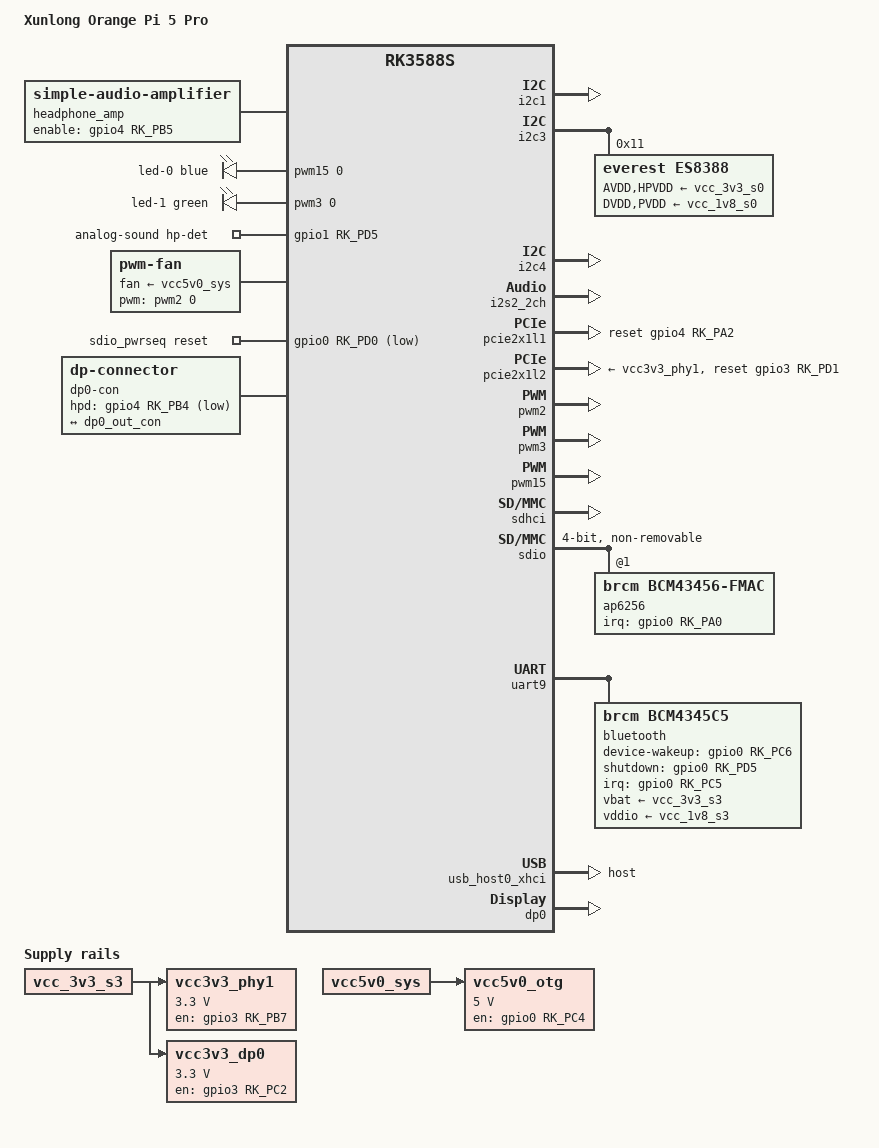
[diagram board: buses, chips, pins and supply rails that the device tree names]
// SPDX-License-Identifier: (GPL-2.0+ OR MIT)

/dts-v1/;

#include "rk3588s-orangepi-5.dtsi"

/ {
	model = "Xunlong Orange Pi 5 Pro";
	compatible = "xunlong,orangepi-5-pro", "rockchip,rk3588s";

	aliases {
		/delete-property/ ethernet0;
		mmc0 = &sdhci;
		mmc1 = &sdmmc;
		mmc2 = &sdio;
	};

	/*
	 * Pro uses GPIO4_PB5 for headphone mute, but the base OPi5 DTSI
	 * uses it for vcc_3v3_sd_s0. Delete the base regulator to avoid -EBUSY.
	 */
	/delete-node/ regulator-vcc-3v3-sd-s0;

	/*
	 * Headphone amplifier (not really an amplifier)
	 * It uses MOSFETs to switch the audio signal
	 * for Power Saving.
	 */
	headphone_amp: headphone-amp {
		compatible = "simple-audio-amplifier";
		enable-gpios = <&gpio4 RK_PB5 GPIO_ACTIVE_HIGH>;
		pinctrl-names = "default";
		pinctrl-0 = <&headphone_amp_en>;
		sound-name-prefix = "Headphones Amp";
	};

	/* Pro uses PWM for LEDs instead of GPIO */
	/delete-node/ pwm-leds;

	pwm-leds {
		compatible = "pwm-leds";

		led-0 {
			color = <LED_COLOR_ID_BLUE>;
			function = LED_FUNCTION_STATUS;
			linux,default-trigger = "heartbeat";
			max-brightness = <255>;
			pwms = <&pwm15 0 1000000 0>;
		};

		led-1 {
			color = <LED_COLOR_ID_GREEN>;
			function = LED_FUNCTION_ACTIVITY;
			linux,default-trigger = "heartbeat";
			max-brightness = <255>;
			pwms = <&pwm3 0 1000000 0>;
		};
	};

	/*
	 * Pro uses i2s2 (i2s2m1 mux) for audio, not i2s1. Recreate the sound
	 * card node pointing at i2s2_2ch instead.
	 */
	/delete-node/ analog-sound;

	/*
	 * Pro version works when CPU gives the MCLK to the codec
	 * instead of the codec generating it itself.
	 * SDO uses MOSFETs to switch the audio signal for power saving.
	 * SDI needs Mic BIAS enabled to work.
	 */
	analog-sound {
		compatible = "simple-audio-card";
		pinctrl-names = "default";
		pinctrl-0 = <&hp_detect>;
		simple-audio-card,name = "rockchip,es8388";
		simple-audio-card,bitclock-master = <&masterdai>;
		simple-audio-card,format = "i2s";
		simple-audio-card,frame-master = <&masterdai>;
		simple-audio-card,hp-det-gpios = <&gpio1 RK_PD5 GPIO_ACTIVE_HIGH>;
		simple-audio-card,mclk-fs = <256>;
		simple-audio-card,aux-devs = <&headphone_amp>;
		simple-audio-card,routing =
			"Headphones", "Headphones Amp OUTL",
			"Headphones", "Headphones Amp OUTR",
			"Headphones Amp INL", "LOUT1",
			"Headphones Amp INR", "ROUT1",
			"LINPUT1", "Microphone Jack",
			"RINPUT1", "Microphone Jack",
			"Microphone Jack", "Mic Bias",
			"LINPUT2", "Onboard Microphone",
			"RINPUT2", "Onboard Microphone",
			"Onboard Microphone", "Mic Bias";
		simple-audio-card,widgets =
			"Microphone", "Microphone Jack",
			"Microphone", "Onboard Microphone",
			"Headphone", "Headphones";

		/* CPU is the master */
		masterdai: simple-audio-card,cpu {
			sound-dai = <&i2s2_2ch>;
		};

		simple-audio-card,codec {
			sound-dai = <&es8388>;
		};
	};

	/*
	 * Fan is controlled by PWM and turns on a MOSFET (Q2) to power the fan.
	 * Recommended using a very low PWM frequency (50 Hz / 20,000,000 ns period).
	 * EXPLANATION: The hardware has an aggressive RC low-pass filter (10K / 100nF)
	 * at the MOSFET gate with a time constant of 1ms. If standard high-frequency PWM
	 * (25kHz) is used, the gate capacitor will integrate the signal as a DC Voltage,
	 * forcing the SOT-23 MOSFET into its linear (ohmic) region, causing
	 * massive thermal dissipation and eventually burning out the component.
	 * A 20ms period allows enough time for the gate to fully charge and discharge.
	 */
	fan: pwm-fan {
		compatible = "pwm-fan";
		#cooling-cells = <2>;
		/* Extend SBC capacitors and CPU lifetime */
		cooling-levels = <160 190 215 235 255>;
		fan-supply = <&vcc5v0_sys>;
		pwms = <&pwm2 0 20000000 0>;
	};

	/* PCIe 2.0 Regulator for MT YT6801 (PCIE-to-Ethernet) */
	vcc3v3_phy1: regulator-vcc3v3-phy1 {
		compatible = "regulator-fixed";
		enable-active-high;
		/* Prevent PCIe PHY getting STUCK */
		startup-delay-us = <50000>;
		regulator-always-on;
		regulator-boot-on;
		gpios = <&gpio3 RK_PB7 GPIO_ACTIVE_HIGH>;
		pinctrl-names = "default";
		pinctrl-0 = <&vcc3v3_phy1_en>;
		regulator-max-microvolt = <3300000>;
		regulator-min-microvolt = <3300000>;
		regulator-name = "vcc3v3_phy1";
		vin-supply = <&vcc_3v3_s3>;
	};

	/* Regulator for USB Type-C Port */
	vcc5v0_otg: regulator-vcc5v0-otg {
		compatible = "regulator-fixed";
		enable-active-high;
		gpios = <&gpio0 RK_PC4 GPIO_ACTIVE_HIGH>;
		pinctrl-names = "default";
		pinctrl-0 = <&vcc5v0_otg_en>;
		regulator-always-on;
		regulator-boot-on;
		regulator-max-microvolt = <5000000>;
		regulator-min-microvolt = <5000000>;
		regulator-name = "vcc5v0_otg";
		vin-supply = <&vcc5v0_sys>;
	};

	/* Regulator for LT8711UXD_U2 (DP-to-HDMI) */
	vcc3v3_dp0: regulator-vcc3v3-dp0 {
		compatible = "regulator-fixed";
		enable-active-high;
		gpios = <&gpio3 RK_PC2 GPIO_ACTIVE_HIGH>;
		pinctrl-names = "default";
		pinctrl-0 = <&dp0_en>;
		regulator-always-on;
		regulator-boot-on;
		regulator-min-microvolt = <3300000>;
		regulator-max-microvolt = <3300000>;
		regulator-name = "vcc3v3_dp0";
		vin-supply = <&vcc_3v3_s3>;
	};

	/* Power Sequence for SDIO (WiFi/Bluetooth Card) */
	sdio_pwrseq: sdio-pwrseq {
		compatible = "mmc-pwrseq-simple";
		clocks = <&hym8563>;
		clock-names = "ext_clock";
		post-power-on-delay-ms = <200>;
		reset-gpios = <&gpio0 RK_PD0 GPIO_ACTIVE_LOW>;
	};

	/* Experimental: DisplayPort 1.4 to HDMI 2.0 */
	dp0-con {
		compatible = "dp-connector";
		type = "full-size";
		pinctrl-names = "default";
		pinctrl-0 = <&dp0_hpd>;
		hpd-gpios = <&gpio4 RK_PB4 GPIO_ACTIVE_LOW>;

		port {
			dp_con_in: endpoint {
				remote-endpoint = <&dp0_out_con>;
			};
		};
	};
};

/* Disable gmac1 as the pro has a PCIe attached NIC */
&gmac1 {
	status = "disabled";
};

/* 40-pin header pins 3/5 */
&i2c1 {
	pinctrl-names = "default";
	pinctrl-0 = <&i2c1m4_xfer>;
	status = "okay";
};

/*
 * Pro routes audio codec via i2c3 (not i2c6) and i2s2m1 (not i2s1m0).
 * Delete the inherited es8388 node from i2c6 and redeclare it here.
 */
/delete-node/ &es8388;

/*
 * Audio Codec ES8388
 * It uses custom "everest,mic-lrck-same" to set ADC LRCK as 1 by default
 * Allowing Microphone to work and avoid using "DAC LRCK" as it causes
 * the codec to never start Microphone clock.
 */
&i2c3 {
	pinctrl-names = "default";
	pinctrl-0 = <&i2c3m0_xfer>;
	status = "okay";

	es8388: audio-codec@11 {
		compatible = "everest,es8388", "everest,es8328";
		reg = <0x11>;
		clocks = <&cru I2S2_2CH_MCLKOUT>;
		clock-names = "mclk";
		AVDD-supply = <&vcc_3v3_s0>;
		DVDD-supply = <&vcc_1v8_s0>;
		HPVDD-supply = <&vcc_3v3_s0>;
		PVDD-supply = <&vcc_1v8_s0>;
		assigned-clocks = <&cru I2S2_2CH_MCLKOUT>;
		assigned-clock-rates = <12288000>;
		#sound-dai-cells = <0>;
		everest,mic-lrck-same;
	};
};

/* 40-pin header pins 27/28 */
&i2c4 {
	pinctrl-names = "default";
	pinctrl-0 = <&i2c4m3_xfer>;
	status = "okay";
};

/*
 * i2s1_8ch uses i2s1m0 which occupies GPIO4_PA0 (CLKREQ#) and GPIO4_PA1
 * (WAKE#) needed for the NVMe M.2 slot. Disable it; audio is on i2s2_2ch.
 */
&i2s1_8ch {
	status = "disabled";
};

/* Audio codec on i2s2, m1 mux; add mclk pin to the base pinctrl */
&i2s2_2ch {
	pinctrl-names = "default";
	pinctrl-0 = <&i2s2m1_sclk
							 &i2s2m1_mclk
							 &i2s2m1_lrck
							 &i2s2m1_sdi
							 &i2s2m1_sdo>;
	#sound-dai-cells = <0>;
	status = "okay";
};

&package_thermal {
	polling-delay = <1000>;

	cooling-maps {
		map0 {
			trip = <&package_fan0>;
			cooling-device = <&fan THERMAL_NO_LIMIT 1>;
		};

		map1 {
			trip = <&package_fan1>;
			cooling-device = <&fan 2 THERMAL_NO_LIMIT>;
		};
	};

	trips {
		package_fan0: package-fan0 {
			hysteresis = <2000>;
			temperature = <55000>;
			type = "active";
		};

		package_fan1: package-fan1 {
			hysteresis = <2000>;
			temperature = <65000>;
			type = "active";
		};
	};
};

/* Enable NVMe */
&pcie2x1l1 {
	pinctrl-names = "default";
	pinctrl-0 = <&pcie30x1m1_1_clkreqn &pcie30x1m1_1_waken>;
	reset-gpios = <&gpio4 RK_PA2 GPIO_ACTIVE_HIGH>;
	supports-clkreq;
	status = "okay";
};

/* Enable NIC */
&pcie2x1l2 {
	reset-gpios = <&gpio3 RK_PD1 GPIO_ACTIVE_HIGH>;
	vpcie3v3-supply = <&vcc3v3_phy1>;
	status = "okay";
};

&pinctrl {
	bluetooth {
		bt_wake_gpio: bt-wake-pin {
			rockchip,pins = <0 RK_PC6 RK_FUNC_GPIO &pcfg_pull_none>;
		};

		bt_wake_host_irq: bt-wake-host-irq {
			rockchip,pins = <0 RK_PC5 RK_FUNC_GPIO &pcfg_pull_down>;
		};
	};

	sound {
		headphone_amp_en: headphone-amp-en {
			rockchip,pins = <4 RK_PB5 RK_FUNC_GPIO &pcfg_pull_none>;
		};
	};

	usb {
		vcc5v0_otg_en: vcc5v0-otg-en {
			rockchip,pins = <0 RK_PC4 RK_FUNC_GPIO &pcfg_pull_none>;
		};
	};

	wlan {
		wifi_host_wake_irq: wifi-host-wake-irq {
			rockchip,pins = <0 RK_PA0 RK_FUNC_GPIO &pcfg_pull_down>;
		};
	};

	ethernet {
		vcc3v3_phy1_en: vcc3v3-phy1-en {
			rockchip,pins = <3 RK_PB7 RK_FUNC_GPIO &pcfg_pull_none>;
		};
		pcie2x1l2_rstn: pcie2x1l2-rstn {
			rockchip,pins = <3 RK_PD1 RK_FUNC_GPIO &pcfg_pull_none>;
		};
	};

	dp {
		dp0_en: dp0-en {
			rockchip,pins = <3 RK_PC2 RK_FUNC_GPIO &pcfg_pull_none>;
		};

		dp0_hpd: dp0-hpd {
			rockchip,pins = <4 RK_PB4 RK_FUNC_GPIO &pcfg_pull_none>;
		};
	};
};

/* pwm0 pin conflicts with i2c4 pin 27 Pro */
&pwm0 {
	status = "disabled";
};

/* Enable PWM for fan */
&pwm2 {
	pinctrl-names = "default";
	pinctrl-0 = <&pwm2m1_pins>;
	status = "okay";
};

/* Enable: PWM GREEN LED */
&pwm3 {
	pinctrl-names = "default";
	pinctrl-0 = <&pwm3m2_pins>;
	status = "okay";
};

/* Enable: PWM BLUE LED */
&pwm15 {
	pinctrl-names = "default";
	pinctrl-0 = <&pwm15m2_pins>;
	status = "okay";
};

&sdhci {
	status = "okay";
};

&sdmmc {
	/delete-property/ vmmc-supply;
};

/* Disable SPI Flash — pins muxed with eMMC */
&sfc {
	status = "disabled";
};

/* Enable SDIO for WiFi/Bluetooth Card */
&sdio {
	#address-cells = <1>;
	#size-cells = <0>;
	bus-width = <4>;
	cap-sd-highspeed;
	cap-sdio-irq;
	keep-power-in-suspend;
	max-frequency = <150000000>;
	mmc-pwrseq = <&sdio_pwrseq>;
	no-mmc;
	no-sd;
	non-removable;
	sd-uhs-sdr104;
	status = "okay";

	ap6256: wifi@1 {
		compatible = "brcm,bcm43456-fmac", "brcm,bcm4329-fmac";
		reg = <1>;
		interrupt-names = "host-wake";
		interrupt-parent = <&gpio0>;
		interrupts = <RK_PA0 IRQ_TYPE_LEVEL_HIGH>;
		pinctrl-names = "default";
		pinctrl-0 = <&wifi_host_wake_irq>;
	};
};

&u2phy0_otg {
	phy-supply = <&vcc5v0_otg>;
};

/* Enable UART for Bluetooth */
&uart9 {
	pinctrl-names = "default";
	pinctrl-0 = <&uart9m2_xfer &uart9m2_ctsn &uart9m2_rtsn>;
	uart-has-rtscts;
	status = "okay";

	bluetooth {
		compatible = "brcm,bcm4345c5";
		clocks = <&hym8563>;
		clock-names = "lpo";
		device-wakeup-gpios = <&gpio0 RK_PC6 GPIO_ACTIVE_HIGH>;
		interrupt-names = "host-wakeup";
		interrupt-parent = <&gpio0>;
		interrupts = <RK_PC5 IRQ_TYPE_LEVEL_HIGH>;
		max-speed = <1500000>;
		pinctrl-names = "default";
		pinctrl-0 = <&bt_wake_host_irq &bt_wake_gpio>;
		shutdown-gpios = <&gpio0 RK_PD5 GPIO_ACTIVE_HIGH>;
		vbat-supply = <&vcc_3v3_s3>;
		vddio-supply = <&vcc_1v8_s3>;
	};
};

/* USB2 OTG PHY for usb_host0_xhci; phy-supply enables VBUS to USB3 Type-A port */
&u2phy0_otg {
	pspi5hy-supply = <&vcc5v0_otg>;
};

/* Pro has no FUSB302; the USB-C port is power delivery only */
/delete-node/ &usbc0;

/*
 * The Pro's USB-C port is power delivery only: no FUSB302, no data lines,
 * no alt-mode switching. The parent DTSI enables usbdp_phy0 (status = "okay")
 * and adds FUSB302 alt-mode/orientation properties; delete those here.
 *
 * dp-lane-mux = <0 1>: PHY lanes 0/1 are DP (physically routed to the
 * LT8711UXD DP→HDMI2 bridge), lanes 2/3 are USB3 SuperSpeed (physically
 * routed to the USB3 Type-A port P3). Without this property the driver
 * defaults to USB-only mode and places USB3 on lanes 0/1, which do not
 * reach the Type-A connector and makes the USB3 port non-functional.
 */
&usbdp_phy0 {
	rockchip,dp-lane-mux = <0 1>;
	/delete-property/ mode-switch;
	/delete-property/ orientation-switch;
	/delete-property/ sbu1-dc-gpios;
	/delete-property/ sbu2-dc-gpios;
	/delete-node/ port;
};

/* USB3 Type-A port*/
&usb_host0_xhci {
	dr_mode = "host";
	/delete-property/ usb-role-switch;
	status = "okay";
	/delete-node/ port;
};

/*
 * combphy2_psu is shared between usb_host2_xhci (USB3) and pcie2x1l1 (PCIe).
 * Disable USB3 so the PHY can be used for the NVMe M.2 slot.
 */
&usb_host2_xhci {
	status = "disabled";
};

/* Experimental: Enable DisplayPort 1.4 to HDMI 2.0 */
&dp0 {
	status = "okay";
};

&dp0_in {
	dp0_in_vp2: endpoint {
		remote-endpoint = <&vp2_out_dp0>;
	};
};

&dp0_out {
	dp0_out_con: endpoint {
		remote-endpoint = <&dp_con_in>;
	};
};

&vp2 {
	vp2_out_dp0: endpoint@a {
		reg = <ROCKCHIP_VOP2_EP_DP0>;
		remote-endpoint = <&dp0_in_vp2>;
	};
}; 
